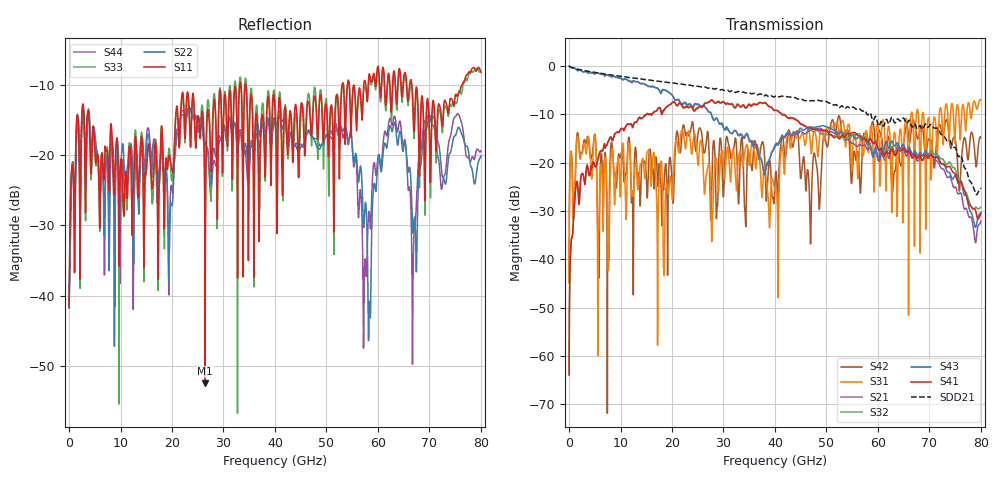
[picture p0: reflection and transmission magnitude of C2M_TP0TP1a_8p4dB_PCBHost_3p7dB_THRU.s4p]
!! Reference: shanbhag_3dj_03_2305.pdf
!! CHANNEL DESCRIPTION: TP0_TP1a C2M Channel, PCB Host
!! MODEL DESCRIPTION: s4p, THRU
!! CONNECTOR DESCRIPTION: OSFP 200G SMT
!! MODEL STATUS: Developmental
!! PORT DEFINITIONS:
!! Port  1  ----->  Side A  Side B  <-----  Port  2
!! Port  3  ----->  Side A  Side B  <-----  Port  4
# HZ S MA R 50.000000
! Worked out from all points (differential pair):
!   8000 points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, 10 MHz to 80 GHz, reference 50 ohm
!   strongest paths, dB at 10 MHz, 20.01 GHz, 40.01 GHz, 60.01 GHz, 80 GHz:
!     S41: -63.9, -7.7, -9.2, -17.1, -30.5
!     S43: -0.1, -6.0, -16.7, -18.9, -30.3
!     S32: -63.9, -7.6, -9.3, -17.1, -29.2
!     S21: -0.1, -6.0, -16.4, -19.4, -32.1
!     S31: -44.8, -27.1, -25.7, -12.6, -7.1
!     S42: -44.8, -24.1, -23.5, -13.9, -14.8
!   taken as a pair (ports 3,1 in; 4,2 out), SDD21 dB: -0.1, -3.6, -6.3, -12.2, -25.2
!   lowest |S11| = -52.5 dB at 26.44 GHz (marker M1), VSWR 1.00, Z = 50 + j0.237 ohm
!   |S11| at or under -10 dB: start of sweep to 33.17 GHz; 34.33 GHz to 53.05 GHz (18.72 GHz wide, 42.8 % of centre); 66.59 GHz to 76.35 GHz (9.764 GHz wide, 13.7 % of centre) (the widest 3 of 14)
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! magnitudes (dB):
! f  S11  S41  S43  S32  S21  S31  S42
! 10 MHz  -41.7  -63.9  -0.1  -63.9  -0.1  -44.8  -44.8
! 2.55 GHz  -13.4  -22.3  -1.2  -22.2  -1.2  -18.0  -17.9
! 26.44 GHz  -52.5  -7.7  -8.6  -7.7  -8.6  -24.9  -17.5
! 53.61 GHz  -18.0  -14.7  -14.2  -15.4  -15.4  -15.7  -13.6
! 58.34 GHz  -8.5  -15.3  -15.9  -15.2  -16.8  -15.7  -15.6
! 62.4 GHz  -11.3  -17.8  -16.3  -17.3  -17.9  -15.6  -19.2
! 80 GHz  -8.2  -30.5  -30.3  -29.2  -32.1  -7.1  -14.8
